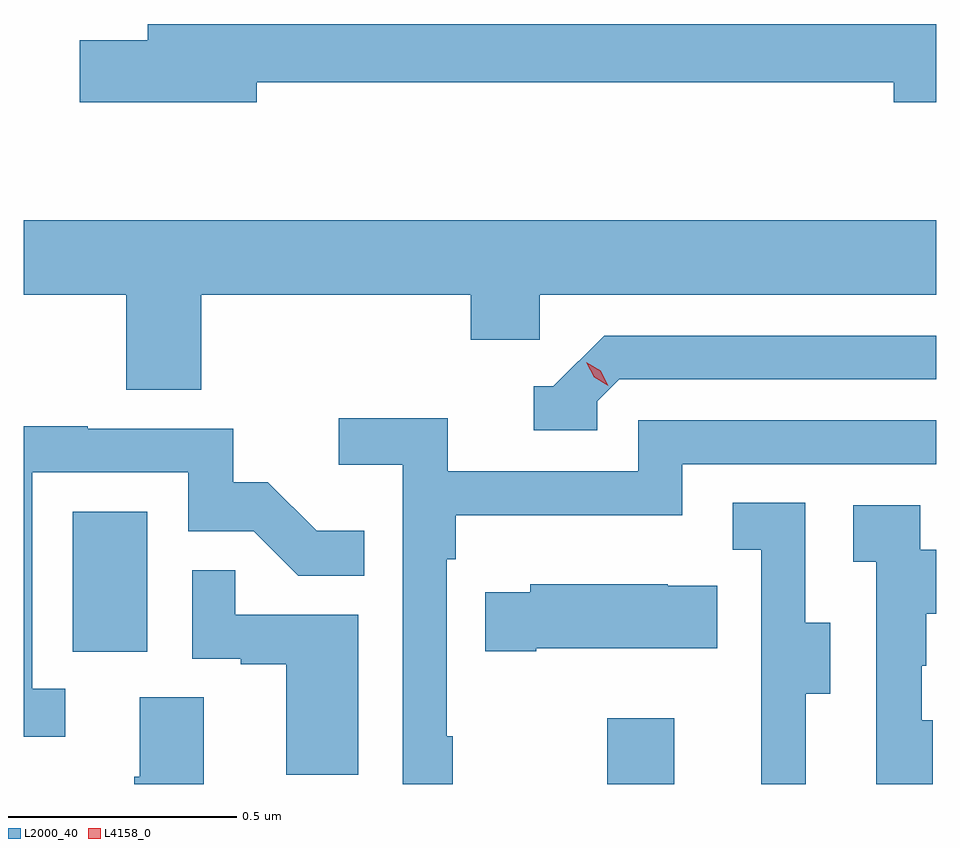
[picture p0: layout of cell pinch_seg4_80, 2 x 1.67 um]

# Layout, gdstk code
import gdstk
lib = gdstk.Library(unit=1e-6, precision=1e-09)
def R(c, l, rs):  # rectangles x0, y0, x1, y1
    for r in rs: c.add(gdstk.rectangle(r[:2], r[2:], *l))
def P(c, l, *ps):  # polygons
    for p in ps: c.add(gdstk.Polygon(p, *l))
L2000_40 = (2000, 40)
L4158_0 = (4158, 0)

pinch_seg4_80 = lib.new_cell('pinch_seg4_80')
R(pinch_seg4_80, L2000_40, [(1074.028,825.052,1074.175,825.196), (1072.856,825.342,1073.02,825.649)])
P(pinch_seg4_80, L2000_40, [(1073.26,826.59),(1074.656,826.59),(1074.656,826.547),(1074.749,826.547),(1074.749,826.718),(1073.021,826.718),(1073.021,826.682),(1072.872,826.682),(1072.872,826.547),(1073.26,826.547)],
  [(1073.138,826.124),(1073.729,826.124),(1073.729,826.026),(1073.88,826.026),(1073.88,826.124),(1074.749,826.124),(1074.749,826.288),(1072.749,826.288),(1072.749,826.124),(1072.973,826.124),(1072.973,825.916),(1073.138,825.916)],
  [(1074.006,825.891),(1074.054,825.939),(1074.749,825.939),(1074.749,826.035),(1074.021,826.035),(1073.91,825.924),(1073.867,825.924),(1073.867,825.828),(1074.006,825.828)],
  [(1073.689,825.157),(1073.676,825.157),(1073.676,825.545),(1073.696,825.545),(1073.696,825.641),(1074.192,825.641),(1074.192,825.753),(1074.749,825.753),(1074.749,825.849),(1074.096,825.849),(1074.096,825.738),(1073.678,825.738),(1073.678,825.854),(1073.439,825.854),(1073.439,825.752),(1073.58,825.752),(1073.58,825.052),(1073.689,825.052)],
  [(1072.84,825.261),(1072.767,825.261),(1072.767,825.735),(1073.109,825.735),(1073.109,825.606),(1073.253,825.606),(1073.351,825.508),(1073.495,825.508),(1073.495,825.607),(1073.391,825.607),(1073.284,825.714),(1073.208,825.714),(1073.208,825.831),(1072.889,825.831),(1072.889,825.836),(1072.749,825.836),(1072.749,825.156),(1072.84,825.156)],
  [(1074.463,825.25),(1074.517,825.25),(1074.517,825.405),(1074.462,825.405),(1074.462,825.668),(1074.303,825.668),(1074.303,825.565),(1074.366,825.565),(1074.366,825.261),(1074.365,825.261),(1074.365,825.052),(1074.463,825.052)],
  [(1074.742,825.192),(1074.717,825.192),(1074.717,825.311),(1074.727,825.311),(1074.727,825.425),(1074.749,825.425),(1074.749,825.565),(1074.714,825.565),(1074.714,825.663),(1074.567,825.663),(1074.567,825.539),(1074.618,825.539),(1074.618,825.052),(1074.742,825.052)],
  [(1073.482,825.423),(1073.213,825.423),(1073.213,825.521),(1073.118,825.521),(1073.118,825.327),(1073.225,825.327),(1073.225,825.315),(1073.324,825.315),(1073.324,825.072),(1073.482,825.072)],
  [(1073.872,825.35),(1074.269,825.35),(1074.269,825.487),(1074.161,825.487),(1074.161,825.49),(1073.859,825.49),(1073.859,825.472),(1073.761,825.472),(1073.761,825.343),(1073.872,825.343)],
  [(1073.143,825.242),(1073.003,825.242),(1073.003,825.068),(1072.991,825.068),(1072.991,825.052),(1073.143,825.052)])
P(pinch_seg4_80, L4158_0, [(1074.03,825.925),(1073.999,825.944),(1073.982,825.976),(1073.982,825.977),(1073.982,825.977),(1074.014,825.958),(1074.03,825.925),(1074.03,825.925)])

lib.write_gds('pinch_seg4_80.gds')
